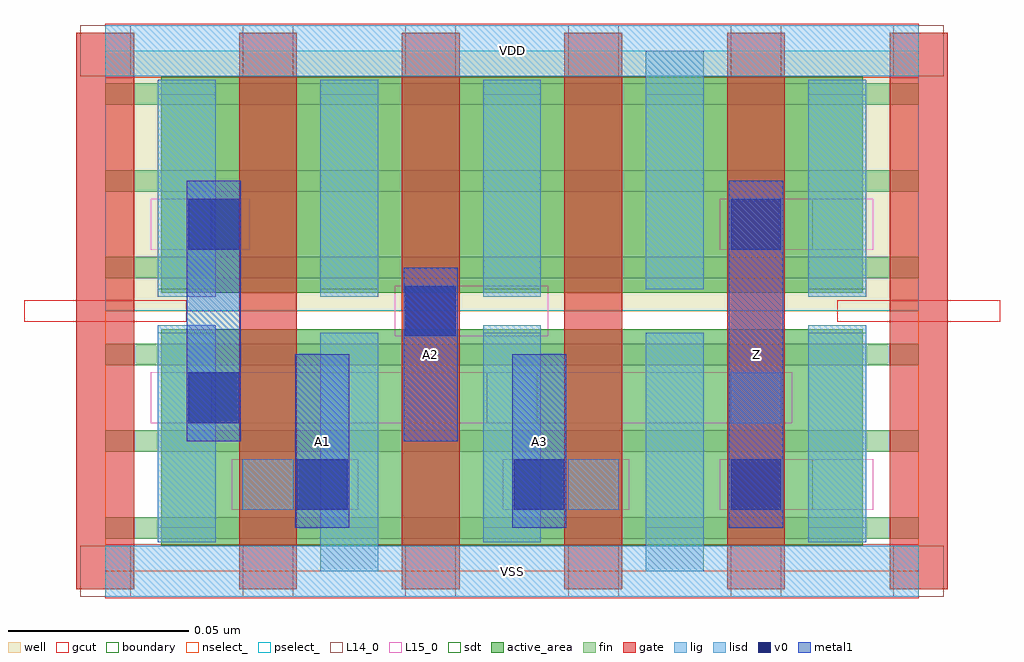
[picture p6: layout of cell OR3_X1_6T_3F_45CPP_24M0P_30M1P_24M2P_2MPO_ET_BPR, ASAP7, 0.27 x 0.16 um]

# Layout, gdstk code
import gdstk
lib = gdstk.Library(unit=1e-6, precision=2.5e-10)
def R(c, l, rs):  # rectangles x0, y0, x1, y1
    for r in rs: c.add(gdstk.rectangle(r[:2], r[2:], *l))
def A(c, l, x, y, w, h, nx, ny, dx, dy):  # array of equal rectangles
    R(c, l, [(x+i*dx, y+j*dy, x+i*dx+w, y+j*dy+h) for i in range(nx) for j in range(ny)])
well = (1, 0)
fin = (2, 0)
gate = (7, 0)
gcut = (10, 0)
active_area = (11, 0)
nselect_ = (12, 0)
pselect_ = (13, 0)
L14_0 = (14, 0)
L15_0 = (15, 0)
lig = (16, 0)
lisd = (17, 0)
v0 = (18, 0)
metal1 = (19, 0)
sdt = (88, 0)
boundary = (100, 0)

or3_x1_6t_3f_45cpp_24m0p = lib.new_cell('OR3_X1_6T_3F_45CPP_24M0P_30M1P_24M2P_2MPO_ET_BPR')
R(or3_x1_6t_3f_45cpp_24m0p, well, [(0,0.072,0.225,0.144)])
A(or3_x1_6t_3f_45cpp_24m0p, fin, 0, 0.009, 0.225, 0.006, 1, 6, 0, 0.024)
A(or3_x1_6t_3f_45cpp_24m0p, gate, -0.008, -0.005, 0.016, 0.154, 6, 1, 0.045, 0)
R(or3_x1_6t_3f_45cpp_24m0p, gcut, [(0,-0.0075,0.225,0.0075), (-0.0225,0.069,0.0225,0.075), (0.2025,0.069,0.2475,0.075), (0,0.1365,0.225,0.1515)])
A(or3_x1_6t_3f_45cpp_24m0p, active_area, 0.0155, 0.007, 0.059, 0.06, 4, 2, 0.045, 0.07)
R(or3_x1_6t_3f_45cpp_24m0p, nselect_, [(0,0,0.225,0.072)])
R(or3_x1_6t_3f_45cpp_24m0p, pselect_, [(0,0.072,0.225,0.144)])
A(or3_x1_6t_3f_45cpp_24m0p, L14_0, -0.007, -0.007, 0.014, 0.014, 6, 2, 0.045, 0.144)
R(or3_x1_6t_3f_45cpp_24m0p, L14_0, [(0.038,0.017,0.052,0.031), (0.128,0.017,0.142,0.031), (0.1955,0.017,0.2095,0.031), (0.0155,0.041,0.0295,0.055), (0.1055,0.041,0.1195,0.055), (0.173,0.041,0.187,0.055), (0.083,0.065,0.097,0.079), (0.0155,0.089,0.0295,0.103), (0.1955,0.089,0.2095,0.103)])
R(or3_x1_6t_3f_45cpp_24m0p, L15_0, [(0,-0.007,0.225,0.007), (0.035,0.017,0.07,0.031), (0.11,0.017,0.145,0.031), (0.17,0.017,0.2125,0.031), (0.0125,0.041,0.19,0.055), (0.08,0.065,0.1225,0.079), (0.0125,0.089,0.04,0.103), (0.17,0.089,0.2125,0.103), (0,0.137,0.225,0.151)])
R(or3_x1_6t_3f_45cpp_24m0p, lig, [(0,-0.007,0.225,0.007), (0.038,0.017,0.052,0.031), (0.128,0.017,0.142,0.031), (0.173,0.041,0.187,0.055), (0.083,0.065,0.097,0.079), (0,0.137,0.225,0.151)])
A(or3_x1_6t_3f_45cpp_24m0p, lisd, 0.0145, 0.008, 0.016, 0.06, 3, 1, 0.09, 0)
A(or3_x1_6t_3f_45cpp_24m0p, lisd, 0.0145, 0.076, 0.016, 0.06, 3, 1, 0.045, 0)
R(or3_x1_6t_3f_45cpp_24m0p, lisd, [(0.0595,0,0.0755,0.066), (0.1495,0,0.1655,0.066), (0.1945,0.076,0.2105,0.136), (0.1495,0.078,0.1655,0.144)])
A(or3_x1_6t_3f_45cpp_24m0p, v0, 0.053, 0.017, 0.014, 0.014, 3, 1, 0.06, 0)
R(or3_x1_6t_3f_45cpp_24m0p, v0, [(0.023,0.041,0.037,0.055), (0.083,0.065,0.097,0.079), (0.023,0.089,0.037,0.103), (0.173,0.089,0.187,0.103)])
R(or3_x1_6t_3f_45cpp_24m0p, metal1, [(0.0525,0.012,0.0675,0.06), (0.1125,0.012,0.1275,0.06), (0.1725,0.012,0.1875,0.108), (0.0225,0.036,0.0375,0.108), (0.0825,0.036,0.0975,0.084)])
A(or3_x1_6t_3f_45cpp_24m0p, sdt, 0.0145, 0.012, 0.016, 0.054, 5, 2, 0.045, 0.066)
R(or3_x1_6t_3f_45cpp_24m0p, boundary, [(0,0,0.225,0.144)])
or3_x1_6t_3f_45cpp_24m0p.add(gdstk.Label('Z', (0.18,0.06), layer=19, texttype=251))
or3_x1_6t_3f_45cpp_24m0p.add(gdstk.Label('A1', (0.06,0.036), layer=19, texttype=251))
or3_x1_6t_3f_45cpp_24m0p.add(gdstk.Label('A2', (0.09,0.06), layer=19, texttype=251))
or3_x1_6t_3f_45cpp_24m0p.add(gdstk.Label('A3', (0.12,0.036), layer=19, texttype=251))
or3_x1_6t_3f_45cpp_24m0p.add(gdstk.Label('VDD', (0.1125,0.144), layer=15, texttype=251))
or3_x1_6t_3f_45cpp_24m0p.add(gdstk.Label('VSS', (0.1125,0), layer=15, texttype=251))
or3_x1_6t_3f_45cpp_24m0p.add(gdstk.Label('VDD', (0.1125,0.144), layer=1, texttype=251))
or3_x1_6t_3f_45cpp_24m0p.add(gdstk.Label('VSS', (0.1125,0), layer=3, texttype=251))

lib.write_gds('OR3_X1_6T_3F_45CPP_24M0P_30M1P_24M2P_2MPO_ET_BPR.gds')
